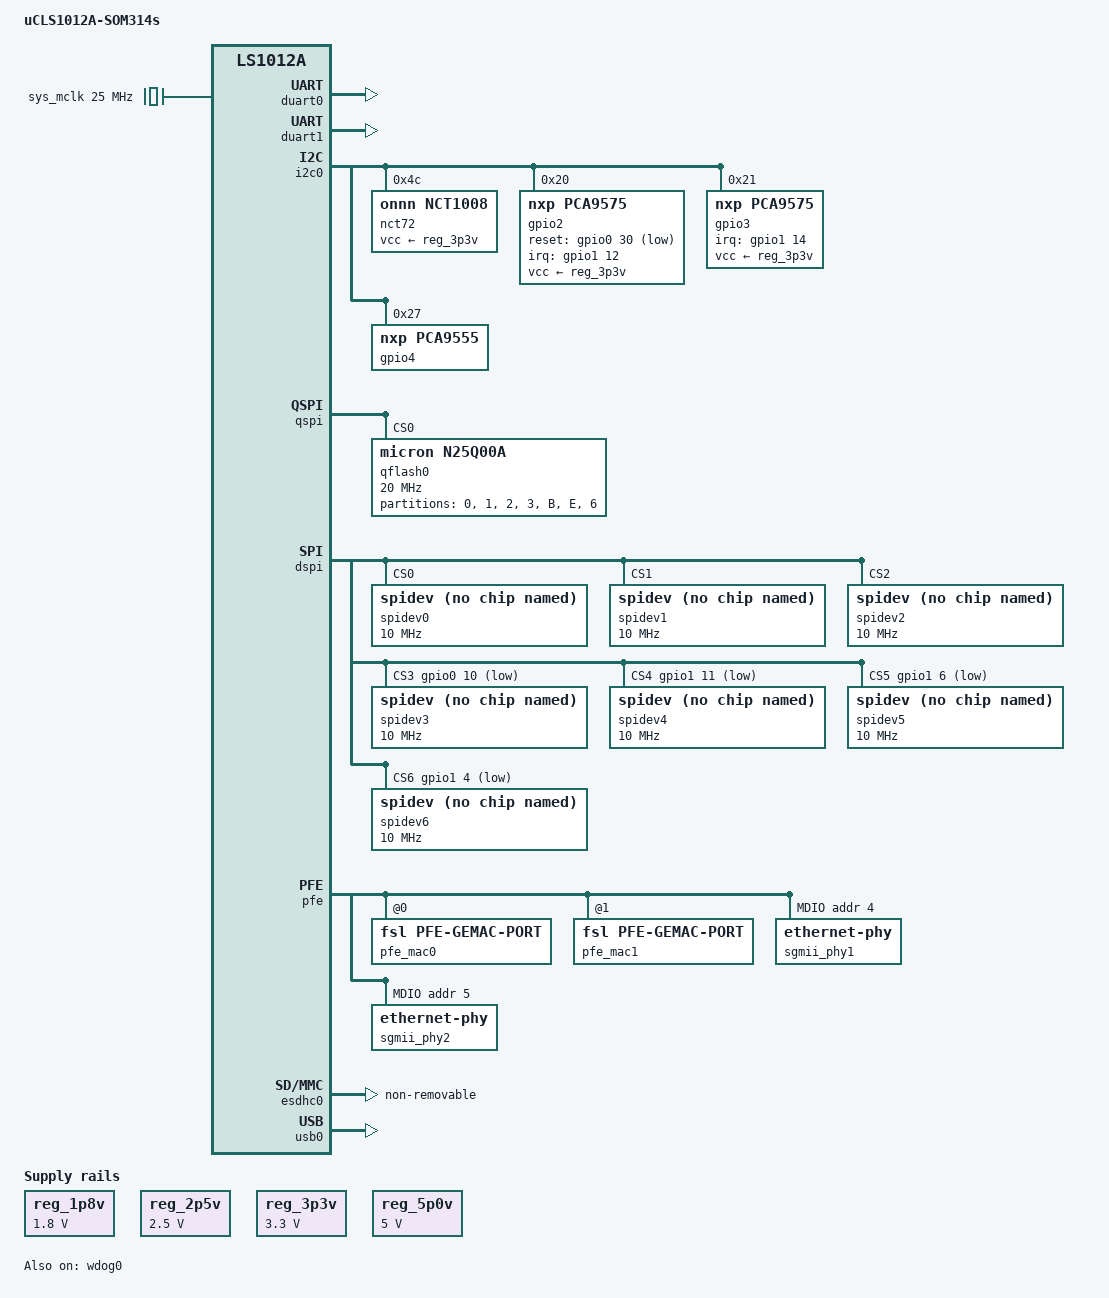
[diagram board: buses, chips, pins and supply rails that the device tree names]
// SPDX-License-Identifier: (GPL-2.0+ OR MIT)
/*
 * Device Tree Include file for Arcturus uCLS1012A-SOM314S
 *
 * Copyright 2017-2023, Arcturus Networks Inc.
 *
 */
/dts-v1/;

#define RESET_BY_GPIO 0
#define ENABLE_EXTERNAL_WATCHDOG_PING 0

#include "arc-ls1012a.dtsi"

/ {
	model = "uCLS1012A-SOM314s";
	compatible = "arc,ucls1012a-som314", "fsl,ls1012a";

	aliases {
		ethernet0 = &pfe_mac0;
		ethernet1 = &pfe_mac1;
	};

	sys_mclk: clock-mclk {
		compatible = "fixed-clock";
		#clock-cells = <0>;
		clock-frequency = <25000000>;
	};
#if RESET_BY_GPIO
	gpio-restart {
		compatible = "gpio-restart";
		gpios = <&gpio0 31 GPIO_ACTIVE_HIGH>;
		open-source;
		priority = <200>;
	};
#endif

	reg_1p8v: regulator-1p8v {
		compatible = "regulator-fixed";
		regulator-name = "1P8V";
		regulator-min-microvolt = <1800000>;
		regulator-max-microvolt = <1800000>;
		regulator-always-on;
	};

	reg_2p5v: regulator-2p5v {
		compatible = "regulator-fixed";
		regulator-name = "2P5V";
		regulator-min-microvolt = <2500000>;
		regulator-max-microvolt = <2500000>;
		regulator-always-on;
	};

	reg_3p3v: regulator-3p3v {
		compatible = "regulator-fixed";
		regulator-name = "3P3V";
		regulator-min-microvolt = <3300000>;
		regulator-max-microvolt = <3300000>;
		regulator-always-on;
	};

	reg_5p0v: regulator-5p0v {
		compatible = "regulator-fixed";
		regulator-name = "5P0V";
		regulator-min-microvolt = <5000000>;
		regulator-max-microvolt = <5000000>;
		regulator-always-on;
	};

#if ENABLE_EXTERNAL_WATCHDOG_PING
	xwatchdog: xwatchdog {
		compatible = "linux,wdt-gpio";
		gpios = <&gpio2 1 GPIO_ACTIVE_HIGH>;
		hw_algo = "toggle";
		hw_margin_ms = <5000>;
		always-running;
		status = "okay";
	};
#endif

#if 0
	gpio-leds {
		compatible = "gpio-leds";
 		status = "disabled";
		gpio5 {
			label = "LED15";		/* LED15 */
			gpios = <&gpio2 4 GPIO_ACTIVE_HIGH>;
			default-state = "on";
		};
		gpio12 {
			label = "LED16";		/* LED16 */
			gpios = <&gpio2 2 GPIO_ACTIVE_HIGH>;
			default-state = "on";
		};
		gpio13 {
			label = "LED17";		/* LED17 */
			gpios = <&gpio2 3 GPIO_ACTIVE_HIGH>;
			default-state = "on";
		};
		gpio7 {
			label = "LED18";		/* LED18 */
			gpios = <&gpio2 6 GPIO_ACTIVE_HIGH>;
			default-state = "on";
		};
		gpio6 {
			label = "LED19";		/* LED19 */
			gpios = <&gpio2 5 GPIO_ACTIVE_HIGH>;
			default-state = "on";
		};
	};

	gpio-keys {
		compatible = "gpio-keys";
		status = "disabled";

		button1 {
			label = "SW1";
			linux,code = <432>;
			gpios = <&gpio1 6 GPIO_OPEN_DRAIN>;
			debounce-interval = <20>;
		};
		button2 {
			label = "SW2";
			linux,code = <433>;
			gpios = <&gpio1 4 GPIO_OPEN_DRAIN>;
			debounce-interval = <20>;
		};
		button3 {
			label = "SW3";
			linux,code = <434>;
			gpios = <&gpio1 5 GPIO_OPEN_DRAIN>;
			debounce-interval = <20>;
		};
		button4 {
			label = "SW4";
			linux,code = <435>;
			gpios = <&gpio1 10 GPIO_OPEN_DRAIN>;
			debounce-interval = <20>;
		};
		button5 {
			label = "SW5";
			linux,code = <436>;
			gpios = <&gpio1 9 GPIO_OPEN_DRAIN>;
			debounce-interval = <20>;
		};
	};
#endif
};

&pcie1 {
	status = "disabled";
};

&duart0 {
	status = "okay";
};

&duart1 {
	status = "okay";
};

&i2c0 {
	status = "okay";

	nct72: temperature-sensor@4c {
			compatible = "onnn,nct1008";
			reg = <0x4c>;
			vcc-supply = <&reg_3p3v>;
			ti,extended-range-enable;
			#thermal-sensor-cells = <1>;
	};

	/* U23 */
	gpio2: pca9575@20 {
		compatible = "nxp,pca9575";
		reg =<0x20>;
		vcc-supply = <&reg_3p3v>;

		/* GPIO pin base & pin0# = 432 */
		gpio-controller;
		#gpio-cells = <2>;

		interrupt-controller;
		#interrupt-cells = <2>;
		interrupt-parent = <&gpio1>;
		interrupts = <12 IRQ_TYPE_EDGE_BOTH>;

		reset-gpios = <&gpio0 30 GPIO_ACTIVE_LOW>;

		internal-pull-down;
	};

	/* U13 */
	gpio3: pca9575@21 {
		compatible = "nxp,pca9575";
		reg =<0x21>;
		vcc-supply = <&reg_3p3v>;

		/* GPIO pin base & pin0# = 416 */
		gpio-controller;
		#gpio-cells = <2>;

		interrupt-controller;
		#interrupt-cells = <2>;
		interrupt-parent = <&gpio1>;
		interrupts = <14 IRQ_TYPE_EDGE_BOTH>;

		internal-pull-down;
	};

	/* U8 on Mbarx Site Controller Rev.2.1 & Rev.3.1 host boards */
	gpio4: tca9555@27 {
		compatible = "nxp,pca9555";
		reg =<0x27>;

		/* GPIO pin base & pin0# =  */
		gpio-controller;
		#gpio-cells = <2>;
#if 0 /* No Interruots for now */
		interrupt-controller;
		#interrupt-cells = <2>;
		interrupt-parent = <&gpio0>;
		interrupts = <11 IRQ_TYPE_EDGE_FALLING>;
		vcc-supply = <&reg_3p3v>;
#endif
	};
};

&qspi {
	num-cs = <1>;
	bus-num = <0>;
	status = "okay";

	qflash0: n25q00a@0 {
		compatible = "micron,n25q00a", "jedec,spi-nor";
		#address-cells = <1>;
		#size-cells = <1>;
		m25p,fast-read;
		spi-max-frequency = <20000000>;
		reg = <0>;
		partitions {
			compatible = "fixed-partitions";
			#address-cells = <1>;
			#size-cells = <1>;
			partition0 {
				label = "0";
				reg = <0x00A00000 0x00800000>;
			};
			partition1 {
				label = "1";
				reg = <0x01200000 0x05580000>;
			};
			partition2 {
				label = "2";
				reg = <0x07780000 0x00080000>;
			};
			partition3 {
				label = "3";
				reg = <0x07800000 0x00800000>;
			};
			partitionB {
				label = "B";
				reg = <0x00100000 0x00100000>;
			};
			partitionE {
				label = "E";
				reg = <0x00200000 0x00040000>;
			};
			/* Partition used for /CCA */
			partition6 {
				label = "6";
				reg = <0x06780000 0x01000000>;
			};
		};
	};
};

&dspi {
	bus-num = <1>;
	status = "okay";
	cs-gpios = <0>, <0>, <0>, <&gpio0 10 1>, <&gpio1 11 1>, <&gpio1 6 1>, <&gpio1 4 1>;

	spidev0@0 {
		compatible = "spidev";
		reg = <0>;
		spi-max-frequency = <10000000>;
	};
	spidev1@1 {
		compatible = "spidev";
		reg = <1>;
		spi-max-frequency = <10000000>;
	};
	spidev2@2 {
		compatible = "spidev";
		reg = <2>;
		spi-max-frequency = <10000000>;
	};
	spidev3@3 {
		compatible = "spidev";
		reg = <3>;
		spi-max-frequency = <10000000>;
	};
	spidev4@4 {
		compatible = "spidev";
		reg = <4>;
		spi-max-frequency = <10000000>;
	};
	spidev5@5 {
		compatible = "spidev";
		reg = <5>;
		spi-max-frequency = <10000000>;
	};
	spidev6@6 {
		compatible = "spidev";
		reg = <6>;
		spi-max-frequency = <10000000>;
	};

#if 0
	dflash: s25fl008k@0 {
		compatible = "spansion,s25fl008k", "jedec,spi-nor";
		reg = <0>;
		spi-max-frequency = <1000000>;
		m25p,fast-read;

		partitions {
			compatible = "fixed-partitions";
			#address-cells = <1>;
			#size-cells = <1>;

			partition@0 {
				label = "SPI MBR";
				reg = <0x00000000 0x00002000>;
				read-only;
			};
			partition@2000 {
				label = "SPI ENV";
				reg = <0x00002000 0x00006000>;
				read-only;
			};
			partition@8000 {
				label = "SPI FS";
				reg = <0x00008000 0x000F8000>;
			};
		};
	};
#endif
#if 0
	spi@1 {
		compatible = "spidev";
		reg = <1>;
		spi-max-frequency = <10000000>;
	};

	spi@2 {
		compatible = "spidev";
		reg = <2>;
		spi-max-frequency = <10000000>;
		fsl,spi-cs-sck-delay = <100>;
		fsl,spi-sck-cs-delay = <100>;
	};
#endif
/*** Disabled until RCW will be changed
	mmc-spi@1 {
		#address-cells = <1>;
		#size-cells = <1>;
		compatible = "mmc-spi-slot";
		reg = <1>;
		spi-max-frequency = <5000000>;
		voltage-ranges = <3200 3400>;
		spi-rx-bus-width = <1>;
		spi-tx-bus-width = <1>;
		disable-wp;
		disable-cd;
	};
***/
};

&pfe {
	status = "okay";
	#address-cells = <1>;
	#size-cells = <0>;

	pfe_mac0: ethernet@0 {
		compatible = "fsl,pfe-gemac-port";
		#address-cells = <1>;
		#size-cells = <0>;
		reg = <0x0>;	/* GEM_ID */
		fsl,gemac-bus-id = <0x0>;	/* BUS_ID */
		fsl,mdio-mux-val = <0x0>;
		phy-mode = "sgmii";
		phy-handle = <&sgmii_phy1>;
		eth-swap = <1>;
	};

	pfe_mac1: ethernet@1 {
		compatible = "fsl,pfe-gemac-port";
		#address-cells = <1>;
		#size-cells = <0>;
		reg = <0x1>;	/* GEM_ID */
		fsl,mdio-mux-val = <0x0>;
		phy-mode = "sgmii";
		phy-handle = <&sgmii_phy2>;
		eth-swap = <1>;
	};

	mdio@0 {
		#address-cells = <1>;
		#size-cells = <0>;

		sgmii_phy1: ethernet-phy@4 {
			reg = <0x4>;
			at803x,eee-disabled;
			rtl821x,aldps-disable;
			rtl821x,clkout-disable;
		};
		sgmii_phy2: ethernet-phy@5 {
			reg = <0x5>;
			at803x,eee-disabled;
			rtl821x,aldps-disable;
			rtl821x,clkout-disable;
		};
	};
};

&esdhc0 {
	non-removable;
	status = "okay";
};

&usb0 {
	status = "okay";
};

&wdog0 {
	status = "okay";
};

&usb1 {
	status = "disabled";
};

&gpio0 {
	ngpios = <32>;
	gpio-line-names =	"UART1_SOUT",	/* P134 */ //
				"UART1_SIN",	/* P135 */ //
				"IIC1_SCL",	/* S48 */  ////
				"IIC1_SDA",	/* S49 */  ////
				"QSPI_A_SCK",	/* P56 */  ////
				"QSPI_A_CS0",	/* P54 */  ////
				"UART2_SIN",	/* P130 */ //
				"GPIO1_07",	/* P131 */ ////
				"UART2_SOUT",	/* P129 */ //
				"GPIO1_09",	/* P132 */ ////
				"ESPI_CS0",	/* P116 C15_06 */ //		/* TRST_B GPIO1_10 */
				"QSPI_A_DATA0",	/* P58 */  ////
				"QSPI_A_DATA1",	/* P57 */  ////
				"QSPI_A_DATA2",	/* S56 */  ////
				"QSPI_A_DATA3",	/* S57 */  ////
				"SHDC1_CMD",	/* P34 */  ////
				"SHDC1_DAT0",	/* P39 */  ////
				"SHDC1_DAT1",	/* P40 */  ////
				"SHDC1_DAT2",	/* P41 */  ////
				"SHDC1_DAT3",	/* P42 */  ////
				"SHDC1_CLK",	/* P36 */  ////
				"GPIO1_21",	/* P35 */  ////		/* SDHC1_CD_B */
				"GPIO1_22",	/* P33 */  ////		/* SDHC1_WP */
				"SDHC1_VSEL",	/*     */  //		/* Lo - 3V3, Hi - 1V8 */
				"SPI_MOSI",	/* P46 */  //		/* C15_13 */
				"SPI_CS0",	/* P43 */  //		/* SDHC2_DAT0 C15_12*/
				"SPI_CS1",	/* P31 */  //		/* SDHC2_DAT1 C15_15*/
				"SPI_CS2",	/* P55 */  ////		/* SDHC2_DAT2 */
				"SPI_MISO",	/* P45 */  //		/* C15_11 */
				"SPI_CLK",	/* P44 */  //		/* C15_14 */
				"GPIO_EXP_RST",	/*     */  ////		/* GPIO1_30 */
				"CLK_OUT";	/* S53 */  ////		/* GPIO1_31, RESET, C11_09 */
};

&gpio1 {
	ngpios = <32>;
	gpio-line-names =	"USB1_DRVVBUS",		/*   */
				"USB1_PWR_FAULT",	/* P74 */
				"PHY_A_IRQ",		/*   */
				"SPI_BP_INT_N",		/* P115 */	/* EC1_TXD2 GPIO2_03 C15_16 */
				"ESPI_CS3",		/* P119 */	/* EC1_TXD1 GPIO2_04 C11_14 */
				"TOD_INT_N",		/* P112 */	/* EC1_TXD0 GPIO2_05 C11_10 */
				"ESPI_CS2",		/* P118 */	/* EC1_TX_EN GPIO2_06 C11_12 */
				"PPS_INT",		/* P113 */	/* EC1_GTX_CLK GPIO2_07 C11_11 */
				"reserved",
				"SPARE_INT",		/* P114 */	/* EC1_RXD3 GPIO2_09 C15_10*/
				"PHASE_READY_INT_N",	/* P111 */	/* EC1_RXD2 GPIO2_10 */
				"ESPI_CS1",		/* P117 */	/* EC1_RXD1 GPIO2_11  Dongle A13 C15_07*/
				"GPIO_EXP0_IRQ",	/* PCA_IRQ */
				"PHY_B_IRQ",		/*   */
				"GPIO_EXP1_IRQ",	/* S51 */	/* EC1_RX_DV GPIO2_14 Dongle B13 */
				"EMI1_MDC",		/* S45 */
				"EMI1_MDIO",		/* S46 */
				"TMP_DETECT_N",		/* S52 */	/* C11_16 */
				"reserved",
				"reserved",
				"reserved",
				"reserved",
				"reserved",
				"reserved",
				"reserved",
				"reserved",
				"reserved",
				"reserved",
				"reserved",
				"reserved",
				"reserved",
				"reserved";
};

/* U23 */
&gpio2 {
	ngpios = <16>;
	gpio-line-names =	"C11_01",		/* S123, TP2_5011  */
				"C11_02",		/* P110 */
				"C11_03",		/* P109 */
				"C11_04",		/* P108 */
				"P107",			/*  */
				"P106",			/*  */
				"P105",			/* C15_02 */
				"P104",			/* c15_05 */
				"TP1_5011",		/* S142 */
				"P125",			/*  */
				"S152", 		/*  */
				"S153",			/*  */
				"C11_08",		/* S154 */
				"C11_05",		/* S146 */
				"C11_06",		/* S148 */
				"C11_07";		/* S149 */
};

/* U13 */
&gpio3 {
	ngpios = <16>;
	gpio-line-names =	"S129",			/*  */
				"S118",			/*  */
				"S117",			/*  */
				"S115",			/*  */
				"S114",			/*  */
				"S113",			/*  */
				"S112",			/*  */
				"S111",			/*  */
				"S109",			/*  */
				"S108",			/*  */
				"S107", 		/*  */
				"S106",			/*  */
				"S105",			/*  */
				"S116",			/*  */
				"S103",			/*  */
				"S102";			/*  */
};

/* U8 on Mbarx Site Controller Rev.2.1 & Rev.3.1 host boards */
&gpio4 {
	ngpios = <16>;
	gpio-line-names =	"LTE0_RESET",
				"LTE0_PWR",
				"LTE1_PWR",
				"LTE1_RESET",
				"MDM_DPC",
				"MDM_RST",
				"RF_EN",
				"MDM_PWR",
				"LED7",
				"LED6",
				"LED5",
				"LED8",
				"AP26",
				"AP50",
				"TP17",
				"AC_INT";
};
